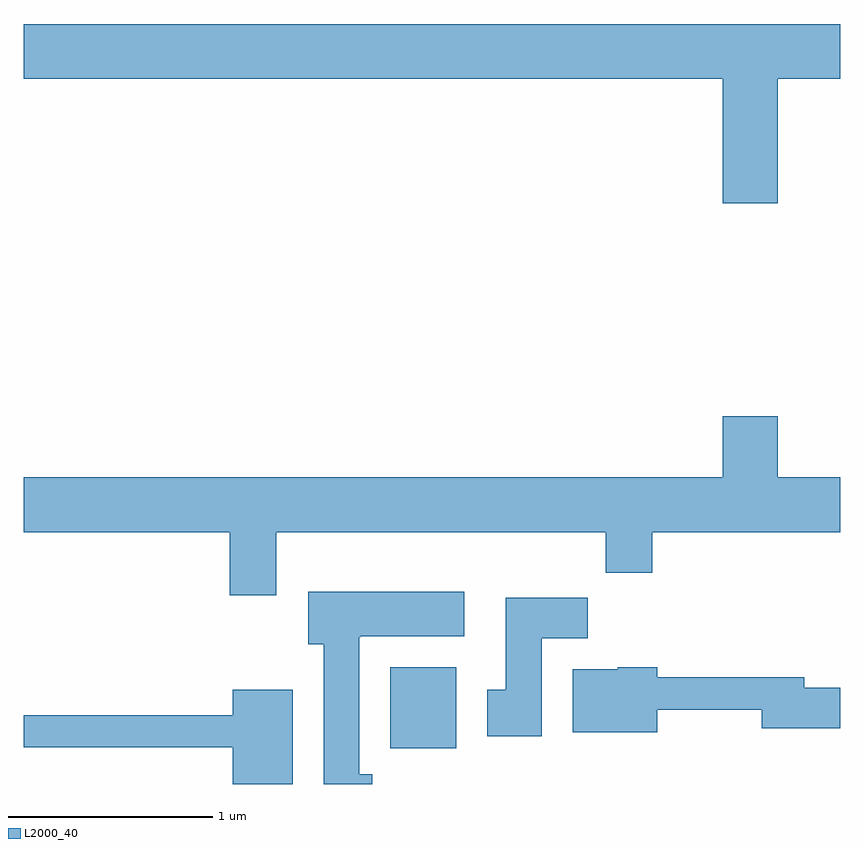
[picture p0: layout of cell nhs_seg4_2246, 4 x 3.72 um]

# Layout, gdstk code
import gdstk
lib = gdstk.Library(unit=1e-6, precision=1e-09)
def R(c, l, rs):  # rectangles x0, y0, x1, y1
    for r in rs: c.add(gdstk.rectangle(r[:2], r[2:], *l))
def P(c, l, *ps):  # polygons
    for p in ps: c.add(gdstk.Polygon(p, *l))
L2000_40 = (2000, 40)

nhs_seg4_2246 = lib.new_cell('nhs_seg4_2246')
R(nhs_seg4_2246, L2000_40, [(253.406,1258.156,253.729,1258.554)])
P(nhs_seg4_2246, L2000_40, [(255.304,1261.436),(255.611,1261.436),(255.611,1261.704),(251.611,1261.704),(251.611,1261.436),(255.036,1261.436),(255.036,1260.826),(255.304,1260.826)],
  [(252.849,1259.216),(254.461,1259.216),(254.461,1259.016),(254.689,1259.016),(254.689,1259.216),(255.611,1259.216),(255.611,1259.484),(255.304,1259.484),(255.304,1259.784),(255.036,1259.784),(255.036,1259.484),(251.611,1259.484),(251.611,1259.216),(252.621,1259.216),(252.621,1258.906),(252.849,1258.906)],
  [(253.318,1258.029),(253.254,1258.029),(253.254,1258.7),(253.26,1258.7),(253.26,1258.706),(253.769,1258.706),(253.769,1258.924),(253.006,1258.924),(253.006,1258.666),(253.081,1258.666),(253.081,1257.982),(253.318,1257.982)],
  [(254.149,1258.696),(254.374,1258.696),(254.374,1258.894),(253.971,1258.894),(253.971,1258.444),(253.881,1258.444),(253.881,1258.216),(254.149,1258.216)],
  [(254.714,1258.346),(255.226,1258.346),(255.226,1258.256),(255.611,1258.256),(255.611,1258.454),(255.434,1258.454),(255.434,1258.504),(254.714,1258.504),(254.714,1258.554),(254.52,1258.554),(254.52,1258.544),(254.301,1258.544),(254.301,1258.236),(254.714,1258.236)],
  [(252.929,1258.444),(252.636,1258.444),(252.636,1258.319),(251.611,1258.319),(251.611,1258.161),(252.636,1258.161),(252.636,1257.982),(252.929,1257.982)])

lib.write_gds('nhs_seg4_2246.gds')
